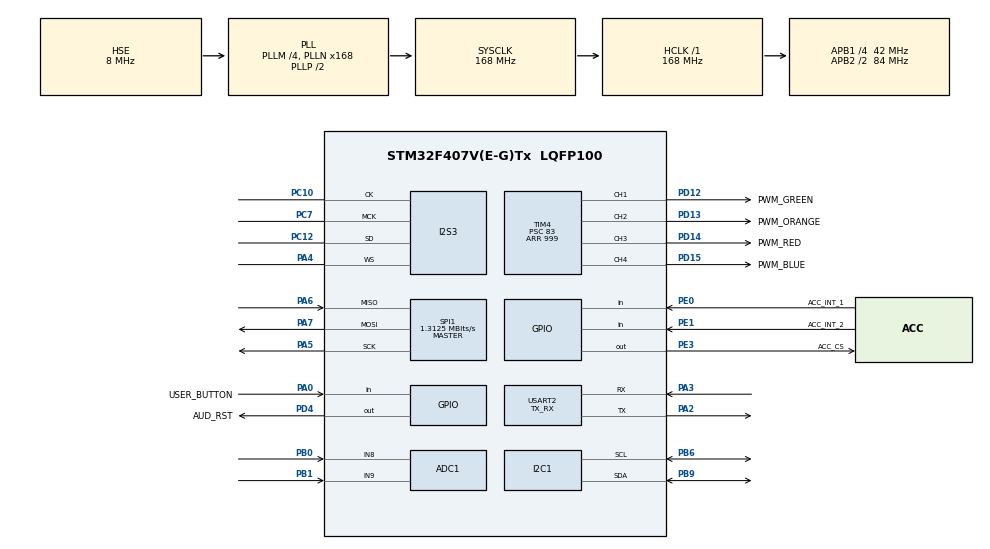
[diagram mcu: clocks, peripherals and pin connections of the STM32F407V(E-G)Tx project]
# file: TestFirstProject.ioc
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ADC1.Channel-0\#ChannelRegularConversion=ADC_CHANNEL_8
ADC1.Channel-1\#ChannelRegularConversion=ADC_CHANNEL_9
ADC1.NbrOfConversion=2
ADC1.NbrOfConversionFlag=1
ADC1.Rank-0\#ChannelRegularConversion=1
ADC1.Rank-1\#ChannelRegularConversion=2
ADC1.SamplingTime-0\#ChannelRegularConversion=ADC_SAMPLETIME_112CYCLES
ADC1.SamplingTime-1\#ChannelRegularConversion=ADC_SAMPLETIME_112CYCLES
ADC1.master=1
Dma.ADC1.0.Direction=DMA_PERIPH_TO_MEMORY
Dma.ADC1.0.FIFOMode=DMA_FIFOMODE_DISABLE
Dma.ADC1.0.Instance=DMA2_Stream0
Dma.ADC1.0.MemDataAlignment=DMA_MDATAALIGN_HALFWORD
Dma.ADC1.0.MemInc=DMA_MINC_ENABLE
Dma.ADC1.0.Mode=DMA_NORMAL
Dma.ADC1.0.PeriphDataAlignment=DMA_PDATAALIGN_HALFWORD
Dma.ADC1.0.PeriphInc=DMA_PINC_DISABLE
Dma.ADC1.0.Priority=DMA_PRIORITY_LOW
Dma.Request0=ADC1
I2S3.ErrorAudioFreq=-0.27 %
I2S3.FullDuplexMode=I2S_FULLDUPLEXMODE_DISABLE
I2S3.Instance=SPI$Index
I2S3.RealAudioFreq=7.978 KHz
I2S3.VirtualMode=I2S_MODE_MASTER
Mcu.Family=STM32F4
Mcu.Name=STM32F407V(E-G)Tx
Mcu.Package=LQFP100
NVIC.DMA2_Stream0_IRQn=true\:0\:0\:false\:false\:true\:false\:true
NVIC.PriorityGroup=NVIC_PRIORITYGROUP_4
NVIC.TIM8_TRG_COM_TIM14_IRQn=true\:0\:0\:false\:false\:true\:true\:true
NVIC.USART2_IRQn=true\:0\:0\:false\:false\:true\:true\:true
PA0-WKUP.GPIO_Label=USER_BUTTON
PA0-WKUP.Signal=GPIO_Input
PA13.Mode=Serial_Wire
PA13.Signal=SYS_JTMS-SWDIO
PA14.Mode=Serial_Wire
PA14.Signal=SYS_JTCK-SWCLK
PA2.Mode=Asynchronous
PA2.Signal=USART2_TX
PA3.Mode=Asynchronous
PA3.Signal=USART2_RX
PA4.Mode=Half_Duplex_Master
PA4.Signal=I2S3_WS
PA5.Mode=Full_Duplex_Master
PA5.Signal=SPI1_SCK
PA6.Mode=Full_Duplex_Master
PA6.Signal=SPI1_MISO
PA7.Mode=Full_Duplex_Master
PA7.Signal=SPI1_MOSI
PB0.Signal=ADCx_IN8
PB1.Signal=ADCx_IN9
PB10.Signal=I2S2_CK
PB6.Mode=I2C
PB6.Signal=I2C1_SCL
PB9.Mode=I2C
PB9.Signal=I2C1_SDA
PC10.Mode=Half_Duplex_Master
PC10.Signal=I2S3_CK
PC12.Mode=Half_Duplex_Master
PC12.Signal=I2S3_SD
PC3.Signal=I2S2_SD
PC7.Mode=Master_Clock_Activated
PC7.Signal=I2S3_MCK
PD12.GPIO_Label=PWM_GREEN
PD12.Signal=S_TIM4_CH1
PD13.GPIO_Label=PWM_ORANGE
PD13.Signal=S_TIM4_CH2
PD14.GPIO_Label=PWM_RED
PD14.Signal=S_TIM4_CH3
PD15.GPIO_Label=PWM_BLUE
PD15.Signal=S_TIM4_CH4
PD4.GPIO_Label=AUD_RST
PD4.PinState=GPIO_PIN_SET
PD4.Signal=GPIO_Output
PE0.GPIO_Label=ACC_INT_1
PE0.Signal=GPIO_Input
PE1.GPIO_Label=ACC_INT_2
PE1.Signal=GPIO_Input
PE3.GPIO_Label=ACC_CS
PE3.Signal=GPIO_Output
PH0-OSC_IN.Mode=HSE-External-Oscillator
PH0-OSC_IN.Signal=RCC_OSC_IN
PH1-OSC_OUT.Mode=HSE-External-Oscillator
PH1-OSC_OUT.Signal=RCC_OSC_OUT
ProjectManager.HeapSize=0x00
ProjectManager.StackSize=0x400
ProjectManager.TargetToolchain=STM32CubeIDE
RCC.48MHZClocksFreq_Value=84000000
RCC.AHBFreq_Value=168000000
RCC.APB1CLKDivider=RCC_HCLK_DIV4
RCC.APB1Freq_Value=42000000
RCC.APB1TimFreq_Value=84000000
RCC.APB2CLKDivider=RCC_HCLK_DIV2
RCC.APB2Freq_Value=84000000
RCC.APB2TimFreq_Value=168000000
RCC.CortexFreq_Value=168000000
RCC.HCLKFreq_Value=168000000
RCC.HSE_VALUE=8000000
RCC.HSI_VALUE=16000000
RCC.LSE_VALUE=32768
RCC.PLLM=4
RCC.PLLN=168
RCC.PLLSourceVirtual=RCC_PLLSOURCE_HSE
RCC.SYSCLKFreq_VALUE=168000000
RCC.SYSCLKSource=RCC_SYSCLKSOURCE_PLLCLK
RCC.VCOOutputFreq_Value=336000000
SH.ADCx_IN8.0=ADC1_IN8,IN8
SH.ADCx_IN9.0=ADC1_IN9,IN9
SH.S_TIM4_CH1.0=TIM4_CH1,PWM Generation1 CH1
SH.S_TIM4_CH2.0=TIM4_CH2,PWM Generation2 CH2
SH.S_TIM4_CH3.0=TIM4_CH3,PWM Generation3 CH3
SH.S_TIM4_CH4.0=TIM4_CH4,PWM Generation4 CH4
SPI1.BaudRatePrescaler=SPI_BAUDRATEPRESCALER_64
SPI1.CalculateBaudRate=1.3125 MBits/s
SPI1.Direction=SPI_DIRECTION_2LINES
SPI1.Mode=SPI_MODE_MASTER
SPI1.VirtualType=VM_MASTER
TIM14.AutoReloadPreload=TIM_AUTORELOAD_PRELOAD_ENABLE
TIM14.Period=999
TIM14.Prescaler=83
TIM4.AutoReloadPreload=TIM_AUTORELOAD_PRELOAD_ENABLE
TIM4.Channel-PWM\ Generation1\ CH1=TIM_CHANNEL_1
TIM4.Channel-PWM\ Generation2\ CH2=TIM_CHANNEL_2
TIM4.Channel-PWM\ Generation3\ CH3=TIM_CHANNEL_3
TIM4.Channel-PWM\ Generation4\ CH4=TIM_CHANNEL_4
TIM4.Period=999
TIM4.Prescaler=83
TIM4.Pulse-PWM\ Generation2\ CH2=499
TIM4.Pulse-PWM\ Generation3\ CH3=749
TIM4.Pulse-PWM\ Generation4\ CH4=999
USART2.Mode=MODE_TX_RX
USART2.OverSampling=UART_OVERSAMPLING_8
USART2.VirtualMode=VM_ASYNC
VP_TIM14_VS_ClockSourceINT.Mode=Enable_Timer
board=custom

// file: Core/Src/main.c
/* USER CODE BEGIN Header */
/**
  ******************************************************************************
  * @file           : main.c
  * @brief          : Main program body
  ******************************************************************************
  * @attention
  *
  * <h2><center>&copy; Copyright (c) 2020 STMicroelectronics.
  * All rights reserved.</center></h2>
  *
  * This software component is licensed by ST under BSD 3-Clause license,
  * the "License"; You may not use this file except in compliance with the
  * License. You may obtain a copy of the License at:
  *                        opensource.org/licenses/BSD-3-Clause
  *
  ******************************************************************************
  */
/* USER CODE END Header */

#include "main.h"
#include "adc.h"
#include "dma.h"
#include "i2c.h"
#include "i2s.h"
#include "spi.h"
#include "tim.h"
#include "usart.h"
#include "gpio.h"

/* USER CODE BEGIN PV */
uint8_t uart2rxBuffer[ 1 ];

uint8_t uart2rxTempBuffer[ 256 ];
uint8_t uart2rxTempBufferIndex = 0;
/* USER CODE END PV */

void SystemClock_Config(void);

int main(void)
{
  /* USER CODE BEGIN 1 */
    uint16_t duty = 0;
    TIM_OC_InitTypeDef sConfigOC = {0};
    uint8_t uartTxTest = 0;
  /* USER CODE END 1 */

  /* MCU Configuration--------------------------------------------------------*/

  /* Reset of all peripherals, Initializes the Flash interface and the Systick. */
  HAL_Init();

  /* Configure the system clock */
  SystemClock_Config();

  /* Initialize all configured peripherals */
  MX_GPIO_Init();
  MX_DMA_Init();
  MX_ADC1_Init();
  MX_I2C1_Init();
  MX_I2S3_Init();
  MX_SPI1_Init();
  MX_TIM14_Init();
  MX_USART2_UART_Init();
  MX_TIM4_Init();
  /* USER CODE BEGIN 2 */

  HAL_UART_Receive_IT ( &huart2, uart2rxBuffer, 1 );

  /* USER CODE END 2 */

  /* Infinite loop */
  /* USER CODE BEGIN WHILE */
  while (1)
  {
      ++uartTxTest;
      HAL_UART_Transmit_IT ( &huart2, &uartTxTest, 1 );

      HAL_Delay ( 250 );
    /* USER CODE END WHILE */

  }
}

void SystemClock_Config(void)
{
  RCC_OscInitTypeDef RCC_OscInitStruct = {0};
  RCC_ClkInitTypeDef RCC_ClkInitStruct = {0};
  RCC_PeriphCLKInitTypeDef PeriphClkInitStruct = {0};

  /** Configure the main internal regulator output voltage
  */
  __HAL_RCC_PWR_CLK_ENABLE();
  __HAL_PWR_VOLTAGESCALING_CONFIG(PWR_REGULATOR_VOLTAGE_SCALE1);
  /** Initializes the CPU, AHB and APB busses clocks
  */
  RCC_OscInitStruct.OscillatorType = RCC_OSCILLATORTYPE_HSE;
  RCC_OscInitStruct.HSEState = RCC_HSE_ON;
  RCC_OscInitStruct.PLL.PLLState = RCC_PLL_ON;
  RCC_OscInitStruct.PLL.PLLSource = RCC_PLLSOURCE_HSE;
  RCC_OscInitStruct.PLL.PLLM = 4;
  RCC_OscInitStruct.PLL.PLLN = 168;
  RCC_OscInitStruct.PLL.PLLP = RCC_PLLP_DIV2;
  RCC_OscInitStruct.PLL.PLLQ = 4;
  if (HAL_RCC_OscConfig(&RCC_OscInitStruct) != HAL_OK)
  {
    Error_Handler();
  }
  /** Initializes the CPU, AHB and APB busses clocks
  */
  RCC_ClkInitStruct.ClockType = RCC_CLOCKTYPE_HCLK|RCC_CLOCKTYPE_SYSCLK
                              |RCC_CLOCKTYPE_PCLK1|RCC_CLOCKTYPE_PCLK2;
  RCC_ClkInitStruct.SYSCLKSource = RCC_SYSCLKSOURCE_PLLCLK;
  RCC_ClkInitStruct.AHBCLKDivider = RCC_SYSCLK_DIV1;
  RCC_ClkInitStruct.APB1CLKDivider = RCC_HCLK_DIV4;
  RCC_ClkInitStruct.APB2CLKDivider = RCC_HCLK_DIV2;

  if (HAL_RCC_ClockConfig(&RCC_ClkInitStruct, FLASH_LATENCY_5) != HAL_OK)
  {
    Error_Handler();
  }
  PeriphClkInitStruct.PeriphClockSelection = RCC_PERIPHCLK_I2S;
  PeriphClkInitStruct.PLLI2S.PLLI2SN = 192;
  PeriphClkInitStruct.PLLI2S.PLLI2SR = 2;
  if (HAL_RCCEx_PeriphCLKConfig(&PeriphClkInitStruct) != HAL_OK)
  {
    Error_Handler();
  }
}

/* USER CODE BEGIN 4 */

void HAL_UART_TxCpltCallback(UART_HandleTypeDef *huart)
{
    if ( huart->Instance == USART2 )
    {

    }
}

void HAL_UART_RxCpltCallback(UART_HandleTypeDef *huart)
{
    if ( huart->Instance == USART2 )
    {
        uart2rxTempBuffer[ ++uart2rxTempBufferIndex ] = uart2rxBuffer[ 0 ];

        HAL_UART_Receive_IT ( &huart2, uart2rxBuffer, 1 );
    }
}

/* USER CODE END 4 */

void Error_Handler(void)
{
}

/************************ (C) COPYRIGHT STMicroelectronics *****END OF FILE****/
